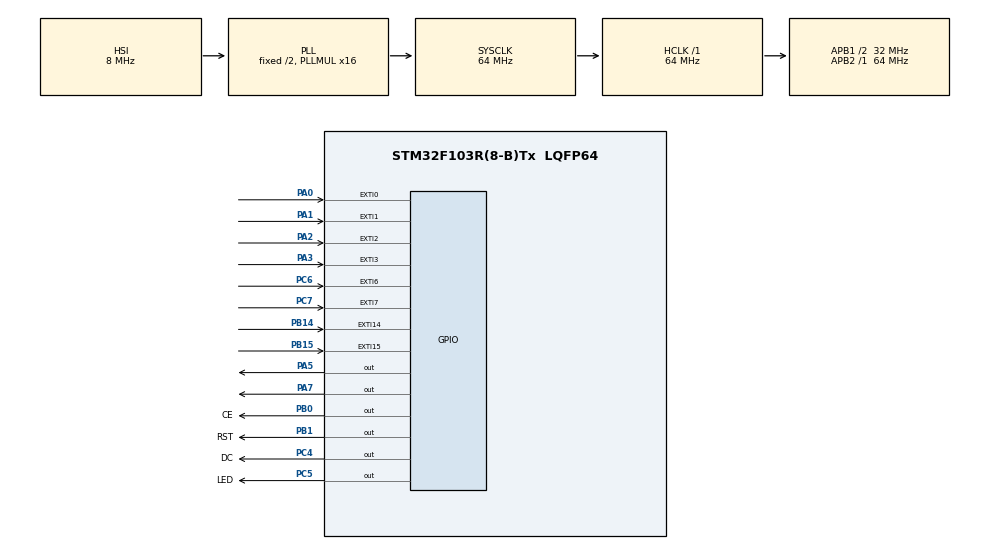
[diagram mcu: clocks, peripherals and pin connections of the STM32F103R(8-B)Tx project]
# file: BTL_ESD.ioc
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Mcu.Family=STM32F1
Mcu.Name=STM32F103R(8-B)Tx
Mcu.Package=LQFP64
NVIC.EXTI15_10_IRQn=true\:0\:0\:false\:false\:true\:true\:true
NVIC.EXTI1_IRQn=true\:0\:0\:false\:false\:true\:true\:true
NVIC.EXTI2_IRQn=true\:0\:0\:false\:false\:true\:true\:true
NVIC.EXTI3_IRQn=true\:0\:0\:false\:false\:true\:true\:true
NVIC.EXTI9_5_IRQn=true\:0\:0\:false\:false\:true\:true\:true
NVIC.PriorityGroup=NVIC_PRIORITYGROUP_4
PA0-WKUP.GPIO_PuPd=GPIO_PULLUP
PA0-WKUP.Signal=GPXTI0
PA1.GPIO_PuPd=GPIO_PULLUP
PA1.Signal=GPXTI1
PA13.Mode=Serial_Wire
PA13.Signal=SYS_JTMS-SWDIO
PA14.Mode=Serial_Wire
PA14.Signal=SYS_JTCK-SWCLK
PA2.GPIO_PuPd=GPIO_PULLUP
PA2.Signal=GPXTI2
PA3.GPIO_PuPd=GPIO_PULLUP
PA3.Signal=GPXTI3
PA5.GPIO_PuPd=GPIO_NOPULL
PA5.GPIO_Speed=GPIO_SPEED_FREQ_HIGH
PA5.Signal=GPIO_Output
PA7.GPIO_Speed=GPIO_SPEED_FREQ_HIGH
PA7.Signal=GPIO_Output
PB0.GPIO_Label=CE
PB0.Signal=GPIO_Output
PB1.GPIO_Label=RST
PB1.Signal=GPIO_Output
PB14.GPIO_PuPd=GPIO_PULLUP
PB14.Signal=GPXTI14
PB15.GPIO_PuPd=GPIO_PULLUP
PB15.Signal=GPXTI15
PC14-OSC32_IN.Mode=LSE-External-Oscillator
PC14-OSC32_IN.Signal=RCC_OSC32_IN
PC15-OSC32_OUT.Mode=LSE-External-Oscillator
PC15-OSC32_OUT.Signal=RCC_OSC32_OUT
PC4.GPIO_Label=DC
PC4.Signal=GPIO_Output
PC5.GPIO_Label=LED
PC5.Signal=GPIO_Output
PC6.GPIO_PuPd=GPIO_PULLUP
PC6.Signal=GPXTI6
PC7.GPIO_PuPd=GPIO_PULLUP
PC7.Signal=GPXTI7
PD0-OSC_IN.Mode=HSE-External-Oscillator
PD0-OSC_IN.Signal=RCC_OSC_IN
PD1-OSC_OUT.Mode=HSE-External-Oscillator
PD1-OSC_OUT.Signal=RCC_OSC_OUT
ProjectManager.HeapSize=0x200
ProjectManager.StackSize=0x400
ProjectManager.TargetToolchain=STM32CubeIDE
RCC.AHBFreq_Value=64000000
RCC.APB1CLKDivider=RCC_HCLK_DIV2
RCC.APB1Freq_Value=32000000
RCC.APB1TimFreq_Value=64000000
RCC.APB2Freq_Value=64000000
RCC.APB2TimFreq_Value=64000000
RCC.HCLKFreq_Value=64000000
RCC.PLLMUL=RCC_PLL_MUL16
RCC.SYSCLKFreq_VALUE=64000000
RCC.SYSCLKSource=RCC_SYSCLKSOURCE_PLLCLK
RCC.USBFreq_Value=64000000
TIM4.Period=1000
TIM4.Prescaler=4
VP_RTC_VS_RTC_Activate.Mode=RTC_Enabled
VP_RTC_VS_RTC_Calendar.Mode=RTC_Calendar
VP_TIM4_VS_ClockSourceINT.Mode=Internal
board=custom

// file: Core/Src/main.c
/* USER CODE BEGIN Header */
/**
  ******************************************************************************
  * @file           : main.c
  * @brief          : Main program body
  ******************************************************************************
  * @attention
  *
  * <h2><center>&copy; Copyright (c) 2019 STMicroelectronics.
  * All rights reserved.</center></h2>
  *
  * This software component is licensed by ST under BSD 3-Clause license,
  * the "License"; You may not use this file except in compliance with the
  * License. You may obtain a copy of the License at:
  *                        opensource.org/licenses/BSD-3-Clause
  *
  ******************************************************************************
  */
/* USER CODE END Header */

#include "main.h"

/* USER CODE BEGIN Includes */
#include "nokia5110.h"
#include "graphic.h"
#include "my_lib.h"
/* USER CODE END Includes */

RTC_HandleTypeDef hrtc;

TIM_HandleTypeDef htim4;

/* USER CODE BEGIN PV */
uint8_t aShowTime[16] = "hh:ms:ss";
uint8_t aShowDate[8] = "hh:ms:ss";
void showTime();
/* USER CODE END PV */

void SystemClock_Config(void);
static void MX_GPIO_Init(void);
static void MX_TIM4_Init(void);
static void MX_RTC_Init(void);
/* USER CODE BEGIN PFP */
static void RTC_TimeShow(uint8_t *showtime);
/* USER CODE END PFP */

/* USER CODE BEGIN 0 */
void lcd_init(){
	  LCD_setRST(GPIOB, GPIO_PIN_1);
	  LCD_setCE(GPIOB, GPIO_PIN_0);
	  LCD_setDC(GPIOC, GPIO_PIN_4);
	  LCD_setDIN(GPIOA, GPIO_PIN_7);
	  LCD_setCLK(GPIOA, GPIO_PIN_5);
	  LCD_init();
	  LCD_invert(0);
	  LCD_printBuffer(mari);
	  HAL_Delay(1000);
}
/* USER CODE END 0 */

int main(void)
{

  /* MCU Configuration--------------------------------------------------------*/

  /* Reset of all peripherals, Initializes the Flash interface and the Systick. */
  HAL_Init();

  /* Configure the system clock */
  SystemClock_Config();

  /* Initialize all configured peripherals */
  MX_GPIO_Init();
  MX_TIM4_Init();
  MX_RTC_Init();
  /* USER CODE BEGIN 2 */
  HAL_TIM_Base_Start(&htim4);
  lcd_init();
  bird_pos = 20;
  bar_height = 20;
  srand (htim4.Instance->CNT);
  /* USER CODE END 2 */

  /* Infinite loop */
  while (1)
  {

    /* USER CODE BEGIN 3 */
//	  HAL_GPIO_WritePin(GPIOC,GPIO_PIN_5,GPIO_PIN_SET);
//	  RTC_TimeShow(aShowTime);
//	  HAL_Delay(1000);
//	  if(mode == 0){
	  while(Flappy_Bird(0, bird,over) == 1){
//		  srand (htim7.Instance->CNT);

//		  Flash_ReadChar(high,DATA_START_ADDRESS,LENGTH_START_ADDRESS);
//		  printStr("Score", 48,  40);
//		  printStr(high  , 30,  40);
//		  LCD_printBuffer(buffer);
//		  HAL_Delay(1000);

	  }
//	  }
//	  else{
//		  showTime();
//	  }
//	  Tetris();
  }
  /* USER CODE END 3 */
}

void SystemClock_Config(void)
{
  RCC_OscInitTypeDef RCC_OscInitStruct = {0};
  RCC_ClkInitTypeDef RCC_ClkInitStruct = {0};
  RCC_PeriphCLKInitTypeDef PeriphClkInit = {0};

  /** Initializes the CPU, AHB and APB busses clocks
  */
  RCC_OscInitStruct.OscillatorType = RCC_OSCILLATORTYPE_HSI|RCC_OSCILLATORTYPE_LSI;
  RCC_OscInitStruct.HSIState = RCC_HSI_ON;
  RCC_OscInitStruct.HSICalibrationValue = RCC_HSICALIBRATION_DEFAULT;
  RCC_OscInitStruct.LSIState = RCC_LSI_ON;
  RCC_OscInitStruct.PLL.PLLState = RCC_PLL_ON;
  RCC_OscInitStruct.PLL.PLLSource = RCC_PLLSOURCE_HSI_DIV2;
  RCC_OscInitStruct.PLL.PLLMUL = RCC_PLL_MUL16;
  if (HAL_RCC_OscConfig(&RCC_OscInitStruct) != HAL_OK)
  {
    Error_Handler();
  }
  /** Initializes the CPU, AHB and APB busses clocks
  */
  RCC_ClkInitStruct.ClockType = RCC_CLOCKTYPE_HCLK|RCC_CLOCKTYPE_SYSCLK
                              |RCC_CLOCKTYPE_PCLK1|RCC_CLOCKTYPE_PCLK2;
  RCC_ClkInitStruct.SYSCLKSource = RCC_SYSCLKSOURCE_PLLCLK;
  RCC_ClkInitStruct.AHBCLKDivider = RCC_SYSCLK_DIV1;
  RCC_ClkInitStruct.APB1CLKDivider = RCC_HCLK_DIV2;
  RCC_ClkInitStruct.APB2CLKDivider = RCC_HCLK_DIV1;

  if (HAL_RCC_ClockConfig(&RCC_ClkInitStruct, FLASH_LATENCY_2) != HAL_OK)
  {
    Error_Handler();
  }
  PeriphClkInit.PeriphClockSelection = RCC_PERIPHCLK_RTC;
  PeriphClkInit.RTCClockSelection = RCC_RTCCLKSOURCE_LSI;
  if (HAL_RCCEx_PeriphCLKConfig(&PeriphClkInit) != HAL_OK)
  {
    Error_Handler();
  }
}

static void MX_RTC_Init(void)
{

  RTC_TimeTypeDef sTime = {0};
  RTC_DateTypeDef DateToUpdate = {0};

  /** Initialize RTC Only
  */
  hrtc.Instance = RTC;
  hrtc.Init.AsynchPrediv = RTC_AUTO_1_SECOND;
  hrtc.Init.OutPut = RTC_OUTPUTSOURCE_ALARM;
  if (HAL_RTC_Init(&hrtc) != HAL_OK)
  {
    Error_Handler();
  }

  /** Initialize RTC and set the Time and Date
  */
  sTime.Hours = 0x0;
  sTime.Minutes = 0x0;
  sTime.Seconds = 0x0;

  if (HAL_RTC_SetTime(&hrtc, &sTime, RTC_FORMAT_BCD) != HAL_OK)
  {
    Error_Handler();
  }
  DateToUpdate.WeekDay = RTC_WEEKDAY_MONDAY;
  DateToUpdate.Month = RTC_MONTH_JANUARY;
  DateToUpdate.Date = 0x1;
  DateToUpdate.Year = 0x0;

  if (HAL_RTC_SetDate(&hrtc, &DateToUpdate, RTC_FORMAT_BCD) != HAL_OK)
  {
    Error_Handler();
  }

}

static void MX_TIM4_Init(void)
{

  TIM_ClockConfigTypeDef sClockSourceConfig = {0};
  TIM_MasterConfigTypeDef sMasterConfig = {0};

  htim4.Instance = TIM4;
  htim4.Init.Prescaler = 4;
  htim4.Init.CounterMode = TIM_COUNTERMODE_UP;
  htim4.Init.Period = 1000;
  htim4.Init.ClockDivision = TIM_CLOCKDIVISION_DIV1;
  htim4.Init.AutoReloadPreload = TIM_AUTORELOAD_PRELOAD_DISABLE;
  if (HAL_TIM_Base_Init(&htim4) != HAL_OK)
  {
    Error_Handler();
  }
  sClockSourceConfig.ClockSource = TIM_CLOCKSOURCE_INTERNAL;
  if (HAL_TIM_ConfigClockSource(&htim4, &sClockSourceConfig) != HAL_OK)
  {
    Error_Handler();
  }
  sMasterConfig.MasterOutputTrigger = TIM_TRGO_RESET;
  sMasterConfig.MasterSlaveMode = TIM_MASTERSLAVEMODE_DISABLE;
  if (HAL_TIMEx_MasterConfigSynchronization(&htim4, &sMasterConfig) != HAL_OK)
  {
    Error_Handler();
  }

}

static void MX_GPIO_Init(void)
{
  GPIO_InitTypeDef GPIO_InitStruct = {0};

  /* GPIO Ports Clock Enable */
  __HAL_RCC_GPIOC_CLK_ENABLE();
  __HAL_RCC_GPIOD_CLK_ENABLE();
  __HAL_RCC_GPIOA_CLK_ENABLE();
  __HAL_RCC_GPIOB_CLK_ENABLE();

  /*Configure GPIO pin Output Level */
  HAL_GPIO_WritePin(GPIOA, GPIO_PIN_5|GPIO_PIN_7, GPIO_PIN_RESET);

  /*Configure GPIO pin Output Level */
  HAL_GPIO_WritePin(GPIOC, DC_Pin|LED_Pin, GPIO_PIN_RESET);

  /*Configure GPIO pin Output Level */
  HAL_GPIO_WritePin(GPIOB, CE_Pin|RST_Pin, GPIO_PIN_RESET);

  /*Configure GPIO pins : PA0 PA1 PA2 PA3 */
  GPIO_InitStruct.Pin = GPIO_PIN_0|GPIO_PIN_1|GPIO_PIN_2|GPIO_PIN_3;
  GPIO_InitStruct.Mode = GPIO_MODE_IT_RISING;
  GPIO_InitStruct.Pull = GPIO_PULLUP;
  HAL_GPIO_Init(GPIOA, &GPIO_InitStruct);

  /*Configure GPIO pins : PA5 PA7 */
  GPIO_InitStruct.Pin = GPIO_PIN_5|GPIO_PIN_7;
  GPIO_InitStruct.Mode = GPIO_MODE_OUTPUT_PP;
  GPIO_InitStruct.Pull = GPIO_NOPULL;
  GPIO_InitStruct.Speed = GPIO_SPEED_FREQ_HIGH;
  HAL_GPIO_Init(GPIOA, &GPIO_InitStruct);

  /*Configure GPIO pins : DC_Pin LED_Pin */
  GPIO_InitStruct.Pin = DC_Pin|LED_Pin;
  GPIO_InitStruct.Mode = GPIO_MODE_OUTPUT_PP;
  GPIO_InitStruct.Pull = GPIO_NOPULL;
  GPIO_InitStruct.Speed = GPIO_SPEED_FREQ_LOW;
  HAL_GPIO_Init(GPIOC, &GPIO_InitStruct);

  /*Configure GPIO pins : CE_Pin RST_Pin */
  GPIO_InitStruct.Pin = CE_Pin|RST_Pin;
  GPIO_InitStruct.Mode = GPIO_MODE_OUTPUT_PP;
  GPIO_InitStruct.Pull = GPIO_NOPULL;
  GPIO_InitStruct.Speed = GPIO_SPEED_FREQ_LOW;
  HAL_GPIO_Init(GPIOB, &GPIO_InitStruct);

  /*Configure GPIO pins : PB14 PB15 */
  GPIO_InitStruct.Pin = GPIO_PIN_14|GPIO_PIN_15;
  GPIO_InitStruct.Mode = GPIO_MODE_IT_RISING;
  GPIO_InitStruct.Pull = GPIO_PULLUP;
  HAL_GPIO_Init(GPIOB, &GPIO_InitStruct);

  /*Configure GPIO pins : PC6 PC7 */
  GPIO_InitStruct.Pin = GPIO_PIN_6|GPIO_PIN_7;
  GPIO_InitStruct.Mode = GPIO_MODE_IT_RISING;
  GPIO_InitStruct.Pull = GPIO_PULLUP;
  HAL_GPIO_Init(GPIOC, &GPIO_InitStruct);

  /* EXTI interrupt init*/
  HAL_NVIC_SetPriority(EXTI1_IRQn, 0, 0);
  HAL_NVIC_EnableIRQ(EXTI1_IRQn);

  HAL_NVIC_SetPriority(EXTI2_IRQn, 0, 0);
  HAL_NVIC_EnableIRQ(EXTI2_IRQn);

  HAL_NVIC_SetPriority(EXTI3_IRQn, 0, 0);
  HAL_NVIC_EnableIRQ(EXTI3_IRQn);

  HAL_NVIC_SetPriority(EXTI9_5_IRQn, 0, 0);
  HAL_NVIC_EnableIRQ(EXTI9_5_IRQn);

  HAL_NVIC_SetPriority(EXTI15_10_IRQn, 0, 0);
  HAL_NVIC_EnableIRQ(EXTI15_10_IRQn);

}

/* USER CODE BEGIN 4 */
void showTime(){
	  deleteBuffer_();
	  RTC_TimeShow(aShowTime);
	  RTC_DateShow(aShowDate);
	  printStr(aShowTime, 0, 30);
	  printStr(aShowDate, 0,  15);

	  LCD_printBuffer(buffer);
}
static void RTC_TimeShow(uint8_t *showtime)
{

  RTC_TimeTypeDef stimestructureget;

  /* Get the RTC current Time */
  HAL_RTC_GetTime(&hrtc, &stimestructureget, RTC_FORMAT_BIN);
  /* Get the RTC current Date */
//  HAL_RTC_GetDate(&hrtc, &sdatestructureget, RTC_FORMAT_BIN);
  /* Display time Format : hh:mm:ss */
  sprintf((char *)showtime, "%02d:%02d:%02d", stimestructureget.Hours, stimestructureget.Minutes, stimestructureget.Seconds);
//  sprintf((char*) date, "%02d:%02d:%02d", sdatestructureget.Date, sdatestructureget.Month, sdatestructureget.Year);
}
 void RTC_DateShow(uint8_t* date)
{
  RTC_DateTypeDef sdatestructureget;

  /* Get the RTC current Time */
//  HAL_RTC_GetTime(&hrtc, &stimestructureget, RTC_FORMAT_BIN);
  /* Get the RTC current Date */
  HAL_RTC_GetDate(&hrtc, &sdatestructureget, RTC_FORMAT_BIN);
  /* Display time Format : hh:mm:ss */
//  sprintf((char *)showtime, "%02d:%02d:%02d", stimestructureget.Hours, stimestructureget.Minutes, stimestructureget.Seconds);
  sprintf((char*) date, "%02d:%02d:%02d", sdatestructureget.Date, sdatestructureget.Month, sdatestructureget.Year);
}
/* USER CODE END 4 */

void Error_Handler(void)
{
}

/************************ (C) COPYRIGHT STMicroelectronics *****END OF FILE****/
